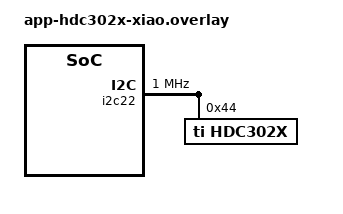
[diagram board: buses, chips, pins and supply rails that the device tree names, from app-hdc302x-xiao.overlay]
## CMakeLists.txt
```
#
# Copyright (c) 2025 Nordic Semiconductor ASA
#
# SPDX-License-Identifier: LicenseRef-Nordic-5-Clause
#

cmake_minimum_required(VERSION 3.20.0)

find_package(Zephyr HINTS $ENV{ZEPHYR_BASE})

project(temperature_sensor)

# Enable GNU STD support.
include(${ZEPHYR_CONNECTEDHOMEIP_MODULE_DIR}/config/nrfconnect/app/enable-gnu-std.cmake)

# NORDIC SDK APP START

# Include all source files that are located in the Matter common directory.
include(${ZEPHYR_NRF_MODULE_DIR}/samples/matter/common/cmake/source_common.cmake)

# Include Data Model utils
include(${ZEPHYR_NRF_MODULE_DIR}/samples/matter/common/cmake/data_model.cmake)

include(${ZEPHYR_NRF_MODULE_DIR}/samples/matter/common/cmake/zap_helpers.cmake)
ncs_get_zap_parent_dir(ZAP_PARENT_DIR)

target_include_directories(app PRIVATE
  src
  third_party
  ${ZAP_PARENT_DIR}
)

target_sources(app PRIVATE
  src/app_task.cpp
  src/hdc302x_configuration.cpp
  src/io_worker.cpp
  src/main.cpp
  src/matter_reporter.cpp
  src/measurement_worker.cpp
  src/sensor.cpp
  src/sht4x_configuration.cpp
)

target_sources_ifdef(CONFIG_APP_HDC302X_MAINTENANCE_FEATURES app PRIVATE
  src/hdc302x_decontamination_controller.cpp
  src/hdc302x_humidity_calibrator.cpp
)

target_sources_ifdef(CONFIG_APP_SSD16XX app PRIVATE
  drivers/display/ssd16xx.c
)

target_sources_ifdef(CONFIG_DISPLAY app PRIVATE
  src/display_manager.cpp
  src/thread_status.cpp
  src/fonts/lv_font_splinesans_medium_18.c
  src/fonts/lv_font_splinesans_medium_20.c
  src/fonts/lv_font_splinesans_bold_72.c
  src/fonts/lv_font_phosphor_bold_18.c
  src/fonts/lv_font_phosphor_32.c
)

if(CONFIG_DISPLAY)
  zephyr_compile_definitions(
    "LV_FONT_CUSTOM_DECLARE=LV_FONT_DECLARE(lv_font_splinesans_medium_20)"
    "LV_FONT_DEFAULT=&lv_font_splinesans_medium_20"
  )
endif()

ncs_configure_data_model()
# NORDIC SDK APP END
```

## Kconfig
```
#
# Copyright (c) 2025 Nordic Semiconductor
#
# SPDX-License-Identifier: LicenseRef-Nordic-5-Clause
#
mainmenu "Matter nRF Connect Temperature Sensor Example Application"

choice OPENTHREAD_NORDIC_LIBRARY_CONFIGURATION
	default OPENTHREAD_NORDIC_LIBRARY_MTD
endchoice

choice OPENTHREAD_DEVICE_TYPE
	default OPENTHREAD_MTD
endchoice

config CHIP_ENABLE_ICD_SUPPORT
	default y

config CHIP_ICD_LIT_SUPPORT
	default y

config APP_SSD16XX
	bool "Application-local SSD16xx e-paper display driver"
	depends on DISPLAY
	select MIPI_DBI
	help
	  Compile the application's vendored copy of the Zephyr ssd16xx
	  driver (drivers/display/ssd16xx.c), a superset of the in-tree
	  driver. Enable together with CONFIG_SSD16XX=n so that exactly
	  one driver binds the display node.

config APP_HDC302X_MAINTENANCE_FEATURES
	bool "Enable HDC302x maintenance features (humidity calibration and decontamination)"
	depends on TI_HDC302X
	default n
	help
	  When enabled, Button 4 requests a humidity calibration of the HDC302x
	  against an SHT4x reference, and Button 3 starts/stops a heater-driven
	  decontamination cycle on the HDC302x. Disabling drops the calibrator
	  and decontamination controller from the build entirely.

config APP_IO_WORKQUEUE_STACK_SIZE
	int "Stack size for the dedicated I/O workqueue thread"
	default 8192
	help
	  Stack size, in bytes, for the dedicated workqueue that runs slow
	  synchronous I/O (sensor reads, e-paper refreshes) off the CHIP task.
	  8 KiB matches the validated CHIP task stack which already carries the
	  same workload today; trim with CONFIG_THREAD_ANALYZER once the
	  high-water mark is known.

config APP_IO_WORKQUEUE_PRIORITY
	int "Thread priority for the dedicated I/O workqueue"
	default 5
	help
	  Priority of the dedicated I/O workqueue thread. K_PRIO_PREEMPT(5)
	  sits below the CHIP task (so radio responsiveness wins over display
	  rendering) and above the cooperative system workqueue (so we do not
	  share its priority).

config DISPLAY_MANAGER_LOG_LEVEL
	int "display_manager log level"
	default 4
	range 0 4
	help
	  Per-module log level for display_manager.
	  0=off, 1=err, 2=wrn, 3=inf, 4=dbg.

config IO_WORKER_LOG_LEVEL
	int "io_worker log level"
	default 3
	range 0 4
	help
	  Per-module log level for io_worker.
	  0=off, 1=err, 2=wrn, 3=inf, 4=dbg.

config MEASUREMENT_WORKER_LOG_LEVEL
	int "measurement_worker log level"
	default 4
	range 0 4
	help
	  Per-module log level for measurement_worker.
	  0=off, 1=err, 2=wrn, 3=inf, 4=dbg.

config SENSOR_LOG_LEVEL
	int "sensor log level"
	default 4
	range 0 4
	help
	  Per-module log level for sensor.
	  0=off, 1=err, 2=wrn, 3=inf, 4=dbg.

config CHIP_ICD_FAST_POLLING_INTERVAL
	default 2000

config CHIP_ICD_REPORT_ON_ACTIVE_MODE
	default y

# Reduce Thread TX output power to 0 dBm for SED device
config OPENTHREAD_DEFAULT_TX_POWER
	default 0

source "$(ZEPHYR_CONNECTEDHOMEIP_MODULE_DIR)/config/nrfconnect/chip-module/Kconfig.features"
source "$(ZEPHYR_CONNECTEDHOMEIP_MODULE_DIR)/config/nrfconnect/chip-module/Kconfig.defaults"
source "$(ZEPHYR_NRF_MODULE_DIR)/samples/matter/common/src/Kconfig"
source "Kconfig.zephyr"
```

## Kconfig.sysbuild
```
#
# Copyright (c) 2025 Nordic Semiconductor ASA
#
# SPDX-License-Identifier: LicenseRef-Nordic-5-Clause
#

#### Radio core selection
config NRF_DEFAULT_IPC_RADIO
	default y

# Enable IEEE802.15.4 serialization to network core
# This config automatically pulls in the `overlay-802154.conf` in the ipc_radio image
config NETCORE_IPC_RADIO_IEEE802154
	default y if SOC_SERIES_NRF53

# Enable Bluetooth serialization to network core
# This config automatically pulls in the `overlay-bt_hci_ipc.conf` in the ipc_radio image
config NETCORE_IPC_RADIO_BT_HCI_IPC
	default y if SOC_SERIES_NRF53

#### Bootloader
choice BOOTLOADER
	default BOOTLOADER_MCUBOOT
endchoice

if BOOTLOADER_MCUBOOT

#### DFU multi-image support
config DFU_MULTI_IMAGE_PACKAGE_BUILD
	default y

config DFU_MULTI_IMAGE_PACKAGE_APP
	default y

config PM_EXTERNAL_FLASH_MCUBOOT_SECONDARY
	default y

#### DFU network core configuration
if SOC_SERIES_NRF53

config MCUBOOT_UPDATEABLE_IMAGES
	default 2

choice MCUBOOT_MODE
	default MCUBOOT_MODE_OVERWRITE_ONLY
endchoice

choice BOOT_SIGNATURE_TYPE
	default BOOT_SIGNATURE_TYPE_RSA
endchoice

config SECURE_BOOT_NETCORE
	default y

config NETCORE_APP_UPDATE
	default y

config DFU_MULTI_IMAGE_PACKAGE_NET
	default y

config SECURE_BOOT_SIGNING_KEY_FILE
	default "${APP_DIR}/keys/nsib_ecdsa_priv.pem"

endif # SOC_SERIES_NRF53

#### Production image signing for the nRF54L series (XIAO + DK + tag)
if SOC_SERIES_NRF54L

# MCUboot image signing. By default the public verification key is compiled into
# the MCUboot image (MCUBOOT_SIGNATURE_USING_KMU defaults to n in the SDK); this
# works with the XIAO's onboard CMSIS-DAP probe via a plain `west flash`, with no
# provisioning step.
#
# To instead store the key in the hardware KMU (more hardened, supports key
# revocation), build with -DSB_CONFIG_MCUBOOT_SIGNATURE_USING_KMU=y (or set it in
# sysbuild_internal.conf) and flash with a SEGGER J-Link via
# `west flash --runner jlink --erase`. The XIAO's CMSIS-DAP probe cannot provision
# the KMU. The private key and the signing operation are identical either way --
# only the public-key storage location differs -- so switching needs no new key.

choice BOOT_SIGNATURE_TYPE
	default BOOT_SIGNATURE_TYPE_ED25519
endchoice

# Emit keyfile.json (consumed by `west flash --erase` to provision the KMU) only
# when KMU storage is selected, so MCUBOOT_SIGNATURE_USING_KMU is the single flag
# that controls the whole mode.
config MCUBOOT_GENERATE_DEFAULT_KEY_FILE
	default y if MCUBOOT_SIGNATURE_USING_KMU

endif # SOC_SERIES_NRF54L

# Production signing key, shared by both storage modes. ${APP_DIR} is expanded by
# the image-signing CMake script to the application directory (a bare relative
# path would instead be resolved against the west workspace topdir). This file is
# gitignored and must be generated locally (see README); a fresh clone will not
# build until it is supplied.
config BOOT_SIGNATURE_KEY_FILE
	default "${APP_DIR}/keys/mcuboot_ed25519_priv.pem" if BOOT_SIGNATURE_TYPE_ED25519
	default "${APP_DIR}/keys/mcuboot_rsa2048_priv.pem" if BOOT_SIGNATURE_TYPE_RSA

if BOARD_NRF54L15DK || BOARD_NRF54LM20DK

# Disable checking the external drivers for nRF54L15 and nRF54LM20 DKs.
config PM_OVERRIDE_EXTERNAL_DRIVER_CHECK
	default y

endif # BOARD_NRF54L15DK || BOARD_NRF54LM20DK

# Internal flash only for nRF54L15 tag with compression
if BOARD_NRF54L15TAG

config PM_OVERRIDE_EXTERNAL_DRIVER_CHECK
	default y

choice MCUBOOT_MODE
	default MCUBOOT_MODE_OVERWRITE_ONLY
endchoice

config MCUBOOT_COMPRESSED_IMAGE_SUPPORT
	default y

endif

endif # BOOTLOADER_MCUBOOT

#### Enable generating factory data
config MATTER_FACTORY_DATA_GENERATE
	default y

source "share/sysbuild/Kconfig"
```

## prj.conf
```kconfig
#
# Copyright (c) 2025 Nordic Semiconductor ASA
#
# SPDX-License-Identifier: LicenseRef-Nordic-5-Clause
#

CONFIG_NCS_APPLICATION_BOOT_BANNER_STRING="Matter Temperature/Humidity Sensor"

# Enable CHIP
CONFIG_CHIP=y
CONFIG_CHIP_PROJECT_CONFIG="src/chip_project_config.h"
CONFIG_CHIP_DEVICE_PRODUCT_NAME="Temperature/Humidity Sensor"

# Configure ZAP file name
CONFIG_NCS_SAMPLE_MATTER_ZAP_FILE_PATH="${APPLICATION_CONFIG_DIR}/src/default_zap/temperature_sensor.zap"

# Based on https://github.com/project-chip/connectedhomeip/blob/482e6fd03196a6de45465a90003947ef4b86e0b1/docs/examples/discussion/PID_allocation_for_example_apps.md)
CONFIG_CHIP_DEVICE_PRODUCT_ID=32781
CONFIG_STD_CPP17=y

# Enable Matter pairing automatically on application start.
CONFIG_CHIP_ENABLE_PAIRING_AUTOSTART=y

# Enable Matter extended announcement and increase duration to 1 hour.
CONFIG_CHIP_BLE_EXT_ADVERTISING=y
CONFIG_CHIP_BLE_ADVERTISING_DURATION=60

# Add support for LEDs and buttons on Nordic development kits
CONFIG_DK_LIBRARY=y

# Bluetooth Low Energy configuration
CONFIG_BT_DEVICE_NAME="MatterTemperature"
CONFIG_BT_DEVICE_NAME_MAX=18

# I2C and sensor support - mix in the sensor-specific .overlay file via `west build` to enable sensor(s)
CONFIG_I2C=y
CONFIG_SENSOR=y
CONFIG_SHT4X=y
CONFIG_TI_HDC302X=y
CONFIG_DEVICE_SHELL=n
CONFIG_SENSOR_SHELL=n

# Suspend devices when the CPU goes into sleep
CONFIG_PM_DEVICE=y

# Other settings
CONFIG_THREAD_NAME=y
CONFIG_MPU_STACK_GUARD=y
CONFIG_RESET_ON_FATAL_ERROR=n
CONFIG_CHIP_LIB_SHELL=n
CONFIG_OPENTHREAD_SHELL=n

# Segger RTT for logging (set to y to enable, n to disable)
CONFIG_USE_SEGGER_RTT=n
CONFIG_LOG_BACKEND_RTT=n

# Enable Factory Data feature
CONFIG_CHIP_FACTORY_DATA=y
CONFIG_CHIP_FACTORY_DATA_BUILD=y
CONFIG_CHIP_FACTORY_DATA_GENERATE_ONBOARDING_CODES=y

# Configure UART logging
CONFIG_LOG=y
CONFIG_LOG_MODE_DEFERRED=y
CONFIG_LOG_PROCESS_THREAD_STACK_SIZE=1024
CONFIG_LOG_BUFFER_SIZE=8192
CONFIG_LOG_FUNC_NAME_PREFIX_DBG=n
CONFIG_LOG_TIMESTAMP_64BIT=y
CONFIG_LOG_OUTPUT_FORMAT_LINUX_TIMESTAMP=y
```

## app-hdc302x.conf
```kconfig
CONFIG_TI_HDC302X=y
```

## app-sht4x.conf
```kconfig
CONFIG_SHT4X=y
```

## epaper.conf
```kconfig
#
# Additional configuration options for e-paper display support
#

CONFIG_DISPLAY=y
CONFIG_SPI=y

# Use the application's vendored ssd16xx driver instead of the in-tree one
# (which defaults on whenever an SSD16xx-family devicetree node is enabled).
CONFIG_SSD16XX=n
CONFIG_APP_SSD16XX=y

# LVGL — 1-bit mono, full-screen VDB, no background workqueue
CONFIG_LVGL=y
CONFIG_LV_COLOR_DEPTH_1=y
CONFIG_LV_Z_FULL_REFRESH=y
CONFIG_LV_Z_VDB_SIZE=100
CONFIG_LV_Z_RUN_LVGL_ON_WORKQUEUE=n
CONFIG_LV_Z_MEM_POOL_SIZE=16384

# Use the mono theme (white background, black text) instead of the default dark theme
CONFIG_LV_USE_THEME_DEFAULT=n
CONFIG_LV_USE_THEME_MONO=y

CONFIG_LV_USE_FLEX=y

# Drop the built-in Montserrat 14 default font; LV_FONT_DEFAULT is overridden
# in CMakeLists.txt to point at lv_font_inter_light_12 (already linked).
CONFIG_LV_FONT_MONTSERRAT_14=n
```

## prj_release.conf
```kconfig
#
# Copyright (c) 2025 Nordic Semiconductor ASA
#
# SPDX-License-Identifier: LicenseRef-Nordic-5-Clause
#

# Enable CHIP
CONFIG_CHIP=y
CONFIG_CHIP_PROJECT_CONFIG="src/chip_project_config.h"
CONFIG_CHIP_DEVICE_PRODUCT_NAME="Temperature/Humidity Sensor"

# Configure ZAP file name
CONFIG_NCS_SAMPLE_MATTER_ZAP_FILE_PATH="${APPLICATION_CONFIG_DIR}/src/default_zap/temperature_sensor.zap"

# Based on https://github.com/project-chip/connectedhomeip/blob/482e6fd03196a6de45465a90003947ef4b86e0b1/docs/examples/discussion/PID_allocation_for_example_apps.md)
CONFIG_CHIP_DEVICE_PRODUCT_ID=32781
CONFIG_STD_CPP17=y

# Enable Matter pairing automatically on application start.
CONFIG_CHIP_ENABLE_PAIRING_AUTOSTART=y

# Enable Matter extended announcement and increase duration to 1 hour.
CONFIG_CHIP_BLE_EXT_ADVERTISING=y
CONFIG_CHIP_BLE_ADVERTISING_DURATION=60

# Add support for LEDs and buttons on Nordic development kits
CONFIG_DK_LIBRARY=y

# Try to disable unused RAM blocks to reduce power consumption
CONFIG_RAM_POWER_DOWN_LIBRARY=y

# Bluetooth Low Energy configuration
CONFIG_BT_DEVICE_NAME="MatterTemperature"
CONFIG_BT_DEVICE_NAME_MAX=18

# I2C and sensor support - mix in the sensor-specific .overlay file via `west build` to enable sensor(s)
CONFIG_I2C=y
CONFIG_SENSOR=y
CONFIG_SHT4X=y
CONFIG_TI_HDC302X=y
CONFIG_DEVICE_SHELL=n
CONFIG_SENSOR_SHELL=n

# Suspend devices when the CPU goes into sleep
CONFIG_PM_DEVICE=y

# Enable system reset on fatal error
CONFIG_RESET_ON_FATAL_ERROR=y

# Disable all debug features
CONFIG_USE_SEGGER_RTT=n
CONFIG_SHELL=n
CONFIG_OPENTHREAD_SHELL=n
CONFIG_CONSOLE=n
CONFIG_UART_CONSOLE=n
CONFIG_SERIAL=n
CONFIG_LOG=n
CONFIG_LOG_MODE_MINIMAL=n
CONFIG_ASSERT_VERBOSE=n
CONFIG_ASSERT_NO_FILE_INFO=y
CONFIG_PRINTK=n
CONFIG_PRINTK_SYNC=n
CONFIG_THREAD_NAME=n
CONFIG_BOOT_BANNER=n

# Enable Factory Data feature
CONFIG_CHIP_FACTORY_DATA=y
CONFIG_CHIP_FACTORY_DATA_BUILD=y

# Enable Watchdog
CONFIG_NCS_SAMPLE_MATTER_WATCHDOG=y

# Enable LTO to decrease the flash usage.
CONFIG_LTO=y
CONFIG_ISR_TABLES_LOCAL_DECLARATION=y
```

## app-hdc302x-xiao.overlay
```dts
&i2c22 {
    status = "okay";

    clock-frequency = <I2C_BITRATE_FAST_PLUS>;

    hdc302x@44 {
        compatible = "ti,hdc302x";
        reg = <0x44>;
    };
};
```

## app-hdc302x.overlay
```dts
&i2c1 {
    clock-frequency = <I2C_BITRATE_FAST>;

    hdc302x@44 {
        compatible = "ti,hdc302x";
        reg = <0x44>;
    };
};
```

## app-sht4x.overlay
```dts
&i2c1 {
    sht4x@44 {
        compatible = "sensirion,sht4x";
        reg = <0x44>;
        repeatability = <2>; /* 2 = high */
    };
};
```

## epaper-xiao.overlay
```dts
/ {
	chosen {
		zephyr,display = &ssd1681;
	};

	mipi_dbi: mipi-dbi-spi {
		compatible = "zephyr,mipi-dbi-spi";
		spi-dev = <&spi00>;
		dc-gpios    = <&xiao_d 3 GPIO_ACTIVE_HIGH>; /* D3 */
		reset-gpios = <&xiao_d 0 GPIO_ACTIVE_LOW>;  /* D0 */
		#address-cells = <1>;
		#size-cells = <0>;

		ssd1681: ssd1681@0 {
			compatible = "solomon,ssd1681";
			mipi-max-frequency = <4000000>;
			reg = <0>;
			width = <200>;
			height = <200>;
			rotation = <180>;
			busy-gpios = <&xiao_d 2 GPIO_ACTIVE_HIGH>; /* D2 */

			partial {};
		};
	};
};

&spi00 {
	cs-gpios = <&xiao_d 1 GPIO_ACTIVE_LOW>; /* D1 */
};
```

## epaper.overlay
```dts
/ {
	chosen {
		zephyr,display = &ssd1681;
	};

	mipi_dbi: mipi-dbi-spi {
		compatible = "zephyr,mipi-dbi-spi";
		spi-dev = <&arduino_spi>;
		dc-gpios    = <&arduino_header 15 GPIO_ACTIVE_HIGH>; /* D9  (P1.11) */
		reset-gpios = <&arduino_header 14 GPIO_ACTIVE_LOW>;  /* D8  (P1.10) */
		#address-cells = <1>;
		#size-cells = <0>;

		ssd1681: ssd1681@0 {
			compatible = "solomon,ssd1681";
			mipi-max-frequency = <4000000>;
			reg = <0>;
			width = <200>;
			height = <200>;
			busy-gpios = <&arduino_header 13 GPIO_ACTIVE_HIGH>; /* D7 (P1.09) */

			partial {};
		};
	};
};
```

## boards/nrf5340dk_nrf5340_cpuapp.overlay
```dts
/*
 * Copyright (c) 2025 Nordic Semiconductor ASA
 *
 * SPDX-License-Identifier: LicenseRef-Nordic-5-Clause
 */

#include <samples/matter/nrf5340_cpuapp_partitions.dtsi>
#include <zephyr/dt-bindings/ipc_service/static_vrings.h>

/ {
	chosen {
		nordic,pm-ext-flash = &mx25r64;
	};
};

/* Set IPC thread priority to the highest value to not collide with other threads. */
&ipc0 {
	zephyr,priority = <0 PRIO_COOP>;
};

/* Disable unused peripherals to reduce power consumption */
&adc {
	status = "disabled";
};

&i2c1 {
	status = "okay";
	clock-frequency = <I2C_BITRATE_FAST>;
};

&pwm0 {
	status = "disabled";
};

&spi2 {
	status = "disabled";
};

&usbd {
	status = "disabled";
};
```

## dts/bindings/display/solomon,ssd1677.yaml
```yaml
# Copyright (c) 2026 Andrew Herbert
# SPDX-License-Identifier: Apache-2.0

description: |
  Solomon SSD1677 EPD display controller (960 source x 680 gate), including
  compatible clones such as the SE8350. Handled by the application-local
  ssd16xx driver superset (CONFIG_APP_SSD16XX).

compatible: "solomon,ssd1677"

include: solomon,ssd16xx-common.yaml

properties:
  driver-output-scan:
    type: int
    default: 0
    description: |
      Third parameter byte of the Driver Output Control command (0x01),
      holding the GD/SM/TB gate-scan bits. Panel-specific; the default 0
      matches the controller's POR value. The KEGM042601M01 4.26" panel
      requires 0x02 (SM=1, no odd/even gate interlacing).
```

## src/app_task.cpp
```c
/*
 * Copyright (c) 2025 Nordic Semiconductor ASA
 *
 * SPDX-License-Identifier: LicenseRef-Nordic-5-Clause
 */

#include "app_task.h"

#include "app/matter_init.h"
#include "app/task_executor.h"
#include "board/board.h"
#include "clusters/identify.h"
#include "io_worker.h"
#include "measurement_worker.h"
#include "lib/core/CHIPError.h"
#include "system/SystemError.h"

#include <zephyr/logging/log.h>

#include <optional>

#ifdef CONFIG_DISPLAY
#include "display_manager.h"
#endif

LOG_MODULE_DECLARE(app, CONFIG_CHIP_APP_LOG_LEVEL);

using namespace ::chip;
using namespace ::chip::app;
using namespace ::chip::DeviceLayer;

namespace
{
Nrf::Matter::IdentifyCluster sIdentifyTemperatureCluster(MatterReporter::kTemperatureEndpointId);
Nrf::Matter::IdentifyCluster sIdentifyHumidityCluster(MatterReporter::kHumidityEndpointId);

#ifdef CONFIG_CHIP_ICD_UAT_SUPPORT
#define UAT_BUTTON_MASK DK_BTN3_MSK
#endif
} /* namespace */

void AppTask::ButtonEventHandler(Nrf::ButtonState state, Nrf::ButtonMask hasChanged)
{
#ifdef CONFIG_CHIP_ICD_UAT_SUPPORT
	if ((UAT_BUTTON_MASK & state & hasChanged)) {
		LOG_INF("ICD UserActiveMode has been triggered.");
		Server::GetInstance().GetICDManager().OnNetworkActivity();
	}
#endif

	if ((DK_BTN2_MSK & state & hasChanged)) {
		MeasurementWorker::Instance().RequestTogglePrimarySensor();
	}

#ifdef CONFIG_APP_HDC302X_MAINTENANCE_FEATURES
	if ((DK_BTN3_MSK & state & hasChanged)) {
		MeasurementWorker::Instance().RequestToggleDecontamination();
	}

	if ((DK_BTN4_MSK & state & hasChanged)) {
		MeasurementWorker::Instance().RequestHumidityCalibration();
	}
#endif
}

void AppTask::LEDStateHandler()
{
	/* Update the status LED.
	 *
	 * If IPv6 network and service provisioned, the LED is off.
	 *
	 * If the system has BLE connection(s) uptill the stage above, THEN blink the LED at an even
	 * rate of 100ms.
	 *
	 * Otherwise, blink the LED for a very short time. */
	Nrf::LEDWidget &statusLED = Nrf::GetBoard().GetLED(Nrf::DeviceLeds::LED1);

	switch (Nrf::GetBoard().GetDeviceState()) {
	case Nrf::DeviceState::DeviceDisconnected:
	case Nrf::DeviceState::DeviceAdvertisingBLE:
		statusLED.Blink(Nrf::LedConsts::StatusLed::Disconnected::kOn_ms,
				      Nrf::LedConsts::StatusLed::Disconnected::kOff_ms);

		break;
	case Nrf::DeviceState::DeviceConnectedBLE:
		statusLED.Blink(Nrf::LedConsts::StatusLed::BleConnected::kOn_ms,
				      Nrf::LedConsts::StatusLed::BleConnected::kOff_ms);
		break;
	case Nrf::DeviceState::DeviceProvisioned:
		statusLED.Set(false);
		break;
	default:
		LOG_ERR("LEDStateHandler: invalid device state");
		break;
	}
}

CHIP_ERROR AppTask::Init()
{
	/* Initialize Matter stack */
	ReturnErrorOnFailure(Nrf::Matter::PrepareServer());

	if (!Nrf::GetBoard().Init(ButtonEventHandler, LEDStateHandler)) {
		LOG_ERR("User interface initialization failed.");
		return CHIP_ERROR_INCORRECT_STATE;
	}

	/* Register Matter event handler that controls the connectivity status LED based on the captured Matter network
	 * state. */
	ReturnErrorOnFailure(Nrf::Matter::RegisterEventHandler(Nrf::Board::DefaultMatterEventHandler, 0));

	ReturnErrorOnFailure(sIdentifyTemperatureCluster.Init());
	ReturnErrorOnFailure(sIdentifyHumidityCluster.Init());

	if (int err = IoWorker::Instance().Init(); err) {
		return chip::System::MapErrorZephyr(err);
	}

#ifdef CONFIG_DISPLAY
	/* DisplayManager::Init() submits the SSD16XX/LVGL bring-up to the
	 * IoWorker, so the worker must already exist. FIFO ordering of the
	 * IoWorker queue places this work ahead of the first measurement tick
	 * armed in MeasurementWorker::Start(). */
	DisplayManager::Instance().Init();
#endif

	ReturnErrorOnFailure(Nrf::Matter::StartServer());

	ReturnErrorOnFailure(mMatterReporter.LoadValidityRanges());

	if (int err = MeasurementWorker::Instance().Init(
		[](std::optional<int16_t> t, std::optional<uint16_t> h) {
			Nrf::PostTask([t, h] { Instance().mMatterReporter.Publish(t, h); });
		}); err) {
		return chip::System::MapErrorZephyr(err);
	}

	return CHIP_NO_ERROR;
}

CHIP_ERROR AppTask::StartApp()
{
	ReturnErrorOnFailure(Init());

	MeasurementWorker::Instance().Start();

	while (true) {
		Nrf::DispatchNextTask();
	}

	return CHIP_NO_ERROR;
}
```

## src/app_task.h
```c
/*
 * Copyright (c) 2025 Nordic Semiconductor ASA
 *
 * SPDX-License-Identifier: LicenseRef-Nordic-5-Clause
 */

#pragma once

#include "board/board.h"
#include "matter_reporter.h"

#include <platform/CHIPDeviceLayer.h>


struct Identify;

class AppTask {
public:
	static AppTask &Instance()
	{
		static AppTask sAppTask;
		return sAppTask;
	};

	CHIP_ERROR StartApp();

private:
	CHIP_ERROR Init();

	MatterReporter mMatterReporter;

	static void ButtonEventHandler(Nrf::ButtonState state, Nrf::ButtonMask hasChanged);

	static void LEDStateHandler();
};
```

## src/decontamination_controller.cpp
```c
/*
 * SPDX-License-Identifier: LicenseRef-Apache-2.0
 */

#include "decontamination_controller.h"

#include "app/task_executor.h"
#include "board/board.h"

#include <zephyr/drivers/sensor.h>
#include <zephyr/drivers/sensor/ti_hdc302x.h>
#include <zephyr/logging/log.h>

#ifdef CONFIG_DISPLAY
#include "display_manager.h"
#endif

LOG_MODULE_DECLARE(app, CONFIG_CHIP_APP_LOG_LEVEL);

namespace
{
constexpr int16_t  kTemperatureInvalidSentinel = 0x8000;
constexpr uint16_t kHumidityInvalidSentinel    = 0xffff;
} /* namespace */

void DecontaminationController::Init(const device *hdc302xDevice,
                                     Callback onStarted,
                                     Callback onStopped,
                                     void *callbackContext)
{
	mDevice          = hdc302xDevice;
	mOnStarted       = onStarted;
	mOnStopped       = onStopped;
	mCallbackContext = callbackContext;

	k_timer_init(
		&mTimer,
		[](k_timer *timer) {
			auto *self =
				static_cast<DecontaminationController *>(k_timer_user_data_get(timer));
			Nrf::PostTask([self] { self->RunCycle(); });
		},
		nullptr);
	k_timer_user_data_set(&mTimer, this);
}

void DecontaminationController::Toggle()
{
	if (mActive) {
		Stop();
	} else {
		Start();
	}
}

void DecontaminationController::SetHeater(int32_t level)
{
	if (mDevice == nullptr) {
		return;
	}
	const struct sensor_value heaterLevel = {.val1 = level, .val2 = 0};
	const int result = sensor_attr_set(mDevice, SENSOR_CHAN_ALL,
	                                   (enum sensor_attribute)SENSOR_ATTR_HEATER_LEVEL,
	                                   &heaterLevel);
	if (result != 0) {
		LOG_ERR("Failed to %s HDC302x heater: %d",
		        (level == kHeaterOff) ? "disable" : "enable", result);
	}
}

void DecontaminationController::Start()
{
	if (mActive) {
		return;
	}
	if (mDevice == nullptr) {
		LOG_WRN("Decontamination requires HDC302x device");
		return;
	}

	if (mOnStarted != nullptr) {
		mOnStarted(mCallbackContext);
	}

	SetHeater(kHeaterLevel);

	mStartUptimeMs = k_uptime_get();
	mActive        = true;

	k_timer_start(&mTimer, K_MSEC(kIntervalMs), K_MSEC(kIntervalMs));

	Nrf::GetBoard().GetLED(Nrf::DeviceLeds::LED4).Blink(kLedOnMs, kIntervalMs - kLedOnMs);

#ifdef CONFIG_DISPLAY
	DisplayManager::Instance().SetDecontaminationStatus(true, 0);
	DisplayManager::Instance().RefreshDisplay();
#endif

	LOG_INF("Decontamination started (heater level %d)", kHeaterLevel);
}

void DecontaminationController::Stop()
{
	if (!mActive) {
		return;
	}

	k_timer_stop(&mTimer);

	SetHeater(kHeaterOff);

	mActive = false;

	Nrf::GetBoard().GetLED(Nrf::DeviceLeds::LED4).Set(false);

#ifdef CONFIG_DISPLAY
	DisplayManager::Instance().SetDecontaminationStatus(false, 0);
	DisplayManager::Instance().RefreshDisplay();
#endif

	if (mOnStopped != nullptr) {
		mOnStopped(mCallbackContext);
	}

	LOG_INF("Decontamination stopped");
}

void DecontaminationController::RunCycle()
{
	if (!mActive) {
		return;
	}

	const int fetchResult = sensor_sample_fetch(mDevice);
	if (fetchResult != 0) {
		LOG_ERR("Decon: failed to fetch sensor: %d", fetchResult);
		return;
	}

	struct sensor_value temperature;
	int16_t temperatureHundredths = kTemperatureInvalidSentinel;
	if (sensor_channel_get(mDevice, SENSOR_CHAN_AMBIENT_TEMP, &temperature) == 0) {
		temperatureHundredths =
			static_cast<int16_t>(temperature.val1 * 100 + temperature.val2 / 10000);
	}

	struct sensor_value humidity;
	uint16_t humidityHundredths = kHumidityInvalidSentinel;
	if (sensor_channel_get(mDevice, SENSOR_CHAN_HUMIDITY, &humidity) == 0) {
		humidityHundredths =
			static_cast<uint16_t>(humidity.val1 * 100 + humidity.val2 / 10000);
	}

	const int64_t elapsedMs = k_uptime_get() - mStartUptimeMs;

	LOG_DBG("Decon t=%lld.%03llds  T=%d.%02dC  RH=%u.%02u%%",
	        elapsedMs / 1000, elapsedMs % 1000,
	        temperatureHundredths / 100, temperatureHundredths % 100,
	        humidityHundredths / 100, humidityHundredths % 100);

#ifdef CONFIG_DISPLAY
	DisplayManager::Instance().UpdateMeasurements(temperatureHundredths, humidityHundredths);
	DisplayManager::Instance().SetDecontaminationStatus(
		true, static_cast<uint32_t>(elapsedMs / 1000));
	DisplayManager::Instance().RefreshDisplay();
#endif

	const bool humidityValid = (humidityHundredths != kHumidityInvalidSentinel);
	if (elapsedMs >= kMaxDurationMs ||
	    (humidityValid && humidityHundredths < kHumidityExitHundredths)) {
		Stop();
	}
}
```

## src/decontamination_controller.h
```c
/*
 * SPDX-License-Identifier: LicenseRef-Apache-2.0
 */

#pragma once

#include <zephyr/kernel.h>
#include <cstdint>

struct device;

/// HDC302x decontamination cycle: drives the on-chip heater for up to five
/// minutes (or until humidity drops below 1%) to drive out absorbed moisture.
/// While active, the host's normal measurement cadence is paused via the
/// supplied callbacks so the heater readings do not pollute the Matter cluster.
class DecontaminationController {
public:
	using Callback = void (*)(void *context);

	DecontaminationController() = default;
	DecontaminationController(const DecontaminationController &) = delete;
	DecontaminationController &operator=(const DecontaminationController &) = delete;

	void Init(const device *hdc302xDevice,
	          Callback onStarted,
	          Callback onStopped,
	          void *callbackContext);

	void Start();
	void Stop();
	void Toggle();

	bool Active() const { return mActive; }

private:
	static constexpr uint32_t kIntervalMs             = 2'000;
	static constexpr uint32_t kLedOnMs                = 50;
	static constexpr uint32_t kMaxDurationMs          = 5 * 60 * 1000;
	static constexpr uint16_t kHumidityExitHundredths = 100; // 1.00%
	static constexpr int32_t  kHeaterLevel            = 14;  // 100% of maximum
	static constexpr int32_t  kHeaterOff              = 0;

	void RunCycle();
	void SetHeater(int32_t level);

	const device *mDevice          = nullptr;
	Callback      mOnStarted       = nullptr;
	Callback      mOnStopped       = nullptr;
	void         *mCallbackContext = nullptr;

	bool    mActive        = false;
	int64_t mStartUptimeMs = 0;
	k_timer mTimer{};
};
```

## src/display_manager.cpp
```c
/*
 * SPDX-License-Identifier: Apache-2.0
 */

#ifdef CONFIG_DISPLAY

#include "display_manager.h"

#include "io_worker.h"

#include <zephyr/drivers/display.h>
#include <zephyr/logging/log.h>

LOG_MODULE_REGISTER(display_manager, CONFIG_DISPLAY_MANAGER_LOG_LEVEL);

LV_FONT_DECLARE(lv_font_splinesans_medium_18);
LV_FONT_DECLARE(lv_font_splinesans_medium_20);
LV_FONT_DECLARE(lv_font_splinesans_bold_72);
LV_FONT_DECLARE(lv_font_phosphor_bold_18);
LV_FONT_DECLARE(lv_font_phosphor_32);

// Replace with codepoints from the Phosphor lookup script.
static constexpr uint32_t kPhosphorThermometer = 0xE5C6;
static constexpr uint32_t kPhosphorDrop        = 0xE210;
static constexpr uint32_t kPhosphorArrowsUpDown = 0xEB04;

static constexpr int32_t kScreenWidth            = 200;
static constexpr int32_t kScreenHeight           = 200;
static constexpr int32_t kHeaderHeight           = 24;
static constexpr int32_t kHeaderInnerPadRight    = 2;
static constexpr int32_t kHeaderInnerPadTop      = 2;
static constexpr int32_t kHeaderTextLeftOffset   = 0;
static constexpr int32_t kSignalWidgetWidth      = 26;
static constexpr int32_t kSignalWidgetHeight     = 14;
static constexpr int32_t kStatusBarColumnGap     = 4;
static constexpr int32_t kSensorContainerHeight  = kScreenHeight - kHeaderHeight;
static constexpr int32_t kSensorContainerLeftPad = 32;
static constexpr int32_t kDividerWidth           = 160;
static constexpr int32_t kDividerHeight          = 1;

void DisplayManager::SignalDrawCallback(lv_event_t *event)
{
	auto      *self  = static_cast<DisplayManager *>(lv_event_get_user_data(event));
	lv_layer_t *layer = lv_event_get_layer(event);
	lv_obj_t   *obj   = lv_event_get_target_obj(event);

	lv_area_t coords;
	lv_obj_get_coords(obj, &coords);

	static constexpr int32_t kBarHeights[4] = {4, 7, 10, 13};
	static constexpr int32_t kBarWidth      = 5;
	static constexpr int32_t kBarGap        = 2;

	if (!self->mCurrentConnected) {
		lv_draw_rect_dsc_t dsc;
		lv_draw_rect_dsc_init(&dsc);
		dsc.bg_color = lv_color_white();
		dsc.bg_opa   = LV_OPA_COVER;
		dsc.radius   = 0;
		int32_t totalWidth = 4 * kBarWidth + 3 * kBarGap;
		int32_t x0 = coords.x1 + (totalWidth - 10) / 2;
		int32_t y0 = (coords.y1 + coords.y2) / 2;
		lv_area_t dash = {x0, y0, x0 + 9, y0};
		lv_draw_rect(layer, &dsc, &dash);
		return;
	}

	for (int i = 0; i < 4; i++) {
		lv_draw_rect_dsc_t dsc;
		lv_draw_rect_dsc_init(&dsc);
		dsc.radius = 0;

		int32_t x = coords.x1 + i * (kBarWidth + kBarGap);
		int32_t h = kBarHeights[i];
		lv_area_t bar = {x, coords.y2 - h, x + kBarWidth - 1, coords.y2};

		if (i <= self->mCurrentLqi) {
			dsc.bg_color     = lv_color_white();
			dsc.bg_opa       = LV_OPA_COVER;
			dsc.border_width = 0;
		} else {
			dsc.bg_opa       = LV_OPA_TRANSP;
			dsc.border_width = 1;
			dsc.border_color = lv_color_white();
			dsc.border_opa   = LV_OPA_COVER;
		}
		lv_draw_rect(layer, &dsc, &bar);
	}
}

lv_obj_t *DisplayManager::CreateSensorCard(lv_obj_t *parent,
                                            const char *title,
                                            const char *unit)
{
	lv_obj_t *card = lv_obj_create(parent);
	lv_obj_remove_style_all(card);
	lv_obj_set_width(card, LV_PCT(100));
	lv_obj_set_height(card, LV_SIZE_CONTENT);
	lv_obj_set_layout(card, LV_LAYOUT_FLEX);
	lv_obj_set_flex_flow(card, LV_FLEX_FLOW_COLUMN);
	lv_obj_set_flex_align(card, LV_FLEX_ALIGN_CENTER, LV_FLEX_ALIGN_CENTER, LV_FLEX_ALIGN_CENTER);
	lv_obj_set_style_pad_all(card, 0, 0);
	lv_obj_set_style_pad_row(card, 11, 0);

	lv_obj_t *valueRow = lv_obj_create(card);
	lv_obj_remove_style_all(valueRow);
	lv_obj_set_size(valueRow, LV_SIZE_CONTENT, LV_SIZE_CONTENT);
	lv_obj_set_layout(valueRow, LV_LAYOUT_FLEX);
	lv_obj_set_flex_flow(valueRow, LV_FLEX_FLOW_ROW);
	lv_obj_set_flex_align(valueRow, LV_FLEX_ALIGN_START, LV_FLEX_ALIGN_END, LV_FLEX_ALIGN_CENTER);
	lv_obj_set_style_pad_all(valueRow, 0, 0);
	lv_obj_set_style_pad_column(valueRow, 4, 0);

	lv_obj_t *valueLabel = lv_label_create(valueRow);
	lv_obj_set_style_text_font(valueLabel, &lv_font_splinesans_bold_72, 0);
	lv_label_set_text(valueLabel, "--.-");

	lv_obj_t *unitLabel = lv_label_create(valueRow);
	lv_obj_set_style_text_font(unitLabel, &lv_font_splinesans_medium_20, 0);
	lv_label_set_text(unitLabel, unit);

	// Bottom-align aligns bounding-box bottoms, not baselines. Lift the unit
	// label by the difference in descender space so baselines coincide.
	int32_t baselineOffset = lv_font_splinesans_bold_72.base_line -
	                         lv_font_splinesans_medium_20.base_line;
	lv_obj_set_style_pad_bottom(unitLabel, baselineOffset, 0);

	return valueLabel;
}

void DisplayManager::CreateIcon(lv_obj_t *screen, uint32_t codepoint, lv_obj_t *valueLabel)
{
	lv_obj_t *icon = lv_label_create(screen);
	lv_obj_add_flag(icon, LV_OBJ_FLAG_FLOATING);
	lv_obj_set_style_text_font(icon, &lv_font_phosphor_32, 0);
	char buf[4] = {
	    static_cast<char>(0xE0 | (codepoint >> 12)),
	    static_cast<char>(0x80 | ((codepoint >> 6) & 0x3F)),
	    static_cast<char>(0x80 | (codepoint & 0x3F)),
	    '\0'
	};
	lv_label_set_text(icon, buf);

	lv_area_t area;
	lv_obj_get_coords(valueLabel, &area);
	int32_t centreY = area.y1 + (area.y2 - area.y1) / 2;
	lv_obj_set_pos(icon, 0, centreY - lv_font_get_line_height(&lv_font_phosphor_32) / 2);
}

void DisplayManager::Init()
{
	k_work_init(&mInitWork, InitHandler);
	k_work_submit_to_queue(&IoWorker::Instance().Queue(), &mInitWork);
}

void DisplayManager::InitHandler(k_work * /* work */)
{
	Instance().InitOnWorker();
}

void DisplayManager::InitOnWorker()
{
	if (!InitDisplayDevice()) {
		mState = State::Unavailable;
		return;
	}
	BuildUserInterface();
	mState = State::Ready;
}

bool DisplayManager::InitDisplayDevice()
{
	mDev = DEVICE_DT_GET(DT_CHOSEN(zephyr_display));
	if (!device_is_ready(mDev)) {
		LOG_ERR("Display device not ready; continuing without display");
		return false;
	}
	LOG_INF("Display device is ready");
	return true;
}

void DisplayManager::BuildUserInterface()
{
	lv_display_t *disp = lv_display_get_default();
#if CONFIG_DISPLAY_MANAGER_LOG_LEVEL >= LOG_LEVEL_DBG
	lv_draw_buf_t *drawBuf = lv_display_get_buf_active(disp);
	LOG_DBG("LVGL draw buf:\r\nsavebin framebuf.bin %p %zu\r\nexit", drawBuf->data, drawBuf->data_size);
#endif
	lv_display_set_theme(disp, lv_theme_mono_init(disp, true, &lv_font_splinesans_medium_20));

	lv_obj_t *screen = lv_screen_active();
	BuildStatusBar(screen);
	BuildMeasurementsContainer(screen);

	// Layout pass: computes card positions and value label coordinates
	// so the floating icons can be placed relative to them.
	lv_obj_update_layout(screen);
	PlaceFloatingIcons(screen);
}

void DisplayManager::BuildStatusBar(lv_obj_t *screen)
{
	lv_obj_t *header = lv_obj_create(screen);
	lv_obj_remove_style_all(header);
	lv_obj_set_size(header, kScreenWidth, kHeaderHeight);
	lv_obj_set_pos(header, 0, 0);
	lv_obj_set_style_pad_right(header, kHeaderInnerPadRight, 0);
	lv_obj_set_style_pad_top(header, kHeaderInnerPadTop, 0);

	mSignalWidget = lv_obj_create(header);
	lv_obj_remove_style_all(mSignalWidget);
	lv_obj_set_size(mSignalWidget, kSignalWidgetWidth, kSignalWidgetHeight);
	lv_obj_align(mSignalWidget, LV_ALIGN_TOP_RIGHT, 0, 0);
	lv_obj_add_event_cb(mSignalWidget, SignalDrawCallback, LV_EVENT_DRAW_MAIN, this);

	mDecontaminationLabel = lv_label_create(header);
	lv_obj_set_style_text_font(mDecontaminationLabel, &lv_font_splinesans_medium_18, 0);
	lv_obj_align(mDecontaminationLabel, LV_ALIGN_TOP_LEFT, kHeaderTextLeftOffset, 0);
	lv_label_set_text(mDecontaminationLabel, "");
	lv_obj_add_flag(mDecontaminationLabel, LV_OBJ_FLAG_HIDDEN);

	mStatusBarContainer = lv_obj_create(header);
	lv_obj_remove_style_all(mStatusBarContainer);
	lv_obj_set_size(mStatusBarContainer, LV_SIZE_CONTENT, LV_SIZE_CONTENT);
	lv_obj_align(mStatusBarContainer, LV_ALIGN_TOP_LEFT, kHeaderTextLeftOffset, 0);
	lv_obj_set_layout(mStatusBarContainer, LV_LAYOUT_FLEX);
	lv_obj_set_flex_flow(mStatusBarContainer, LV_FLEX_FLOW_ROW);
	lv_obj_set_flex_align(mStatusBarContainer, LV_FLEX_ALIGN_START,
	                      LV_FLEX_ALIGN_CENTER, LV_FLEX_ALIGN_CENTER);
	lv_obj_set_style_pad_column(mStatusBarContainer, kStatusBarColumnGap, 0);

	mPrimarySensorLabel = lv_label_create(mStatusBarContainer);
	lv_obj_set_style_text_font(mPrimarySensorLabel, &lv_font_splinesans_medium_18, 0);
	lv_label_set_text(mPrimarySensorLabel, "");
	lv_obj_add_flag(mPrimarySensorLabel, LV_OBJ_FLAG_HIDDEN);

	mOffsetFromSecondaryLabel = lv_label_create(mStatusBarContainer);
	lv_obj_set_style_text_font(mOffsetFromSecondaryLabel, &lv_font_splinesans_medium_18, 0);
	lv_label_set_text(mOffsetFromSecondaryLabel, "");
	lv_obj_add_flag(mOffsetFromSecondaryLabel, LV_OBJ_FLAG_HIDDEN);

	mCalibrationOffsetContainer = lv_obj_create(mStatusBarContainer);
	lv_obj_remove_style_all(mCalibrationOffsetContainer);
	lv_obj_set_size(mCalibrationOffsetContainer, LV_SIZE_CONTENT, LV_SIZE_CONTENT);
	lv_obj_set_style_margin_left(mCalibrationOffsetContainer, -4, 0);
	lv_obj_set_layout(mCalibrationOffsetContainer, LV_LAYOUT_FLEX);
	lv_obj_set_flex_flow(mCalibrationOffsetContainer, LV_FLEX_FLOW_ROW);
	lv_obj_set_flex_align(mCalibrationOffsetContainer, LV_FLEX_ALIGN_START,
	                      LV_FLEX_ALIGN_CENTER, LV_FLEX_ALIGN_CENTER);
	lv_obj_set_style_pad_column(mCalibrationOffsetContainer, 0, 0);
	lv_obj_add_flag(mCalibrationOffsetContainer, LV_OBJ_FLAG_HIDDEN);

	mCalibrationOffsetGlyph = lv_label_create(mCalibrationOffsetContainer);
	lv_obj_set_style_text_font(mCalibrationOffsetGlyph, &lv_font_phosphor_bold_18, 0);
	char arrowsBuf[4] = {
	    static_cast<char>(0xE0 | (kPhosphorArrowsUpDown >> 12)),
	    static_cast<char>(0x80 | ((kPhosphorArrowsUpDown >> 6) & 0x3F)),
	    static_cast<char>(0x80 | (kPhosphorArrowsUpDown & 0x3F)),
	    '\0'
	};
	lv_label_set_text(mCalibrationOffsetGlyph, arrowsBuf);

	mCalibrationOffsetValue = lv_label_create(mCalibrationOffsetContainer);
	lv_obj_set_style_text_font(mCalibrationOffsetValue, &lv_font_splinesans_medium_18, 0);
	lv_obj_set_style_margin_left(mCalibrationOffsetValue, -6, 0);
	lv_label_set_text(mCalibrationOffsetValue, "");
}

void DisplayManager::BuildMeasurementsContainer(lv_obj_t *screen)
{
	lv_obj_t *container = lv_obj_create(screen);
	lv_obj_remove_style_all(container);
	lv_obj_set_size(container, kScreenWidth, kSensorContainerHeight);
	lv_obj_set_pos(container, 0, kHeaderHeight);
	lv_obj_set_layout(container, LV_LAYOUT_FLEX);
	lv_obj_set_flex_flow(container, LV_FLEX_FLOW_COLUMN);
	lv_obj_set_flex_align(container, LV_FLEX_ALIGN_SPACE_EVENLY,
	                      LV_FLEX_ALIGN_CENTER, LV_FLEX_ALIGN_CENTER);
	lv_obj_set_style_pad_left(container, kSensorContainerLeftPad, 0);

	mValueTemperature = CreateSensorCard(container, "TEMPERATURE",
	                                     "\xC2\xB0" "C");

	lv_obj_t *divider = lv_obj_create(container);
	lv_obj_remove_style_all(divider);
	lv_obj_set_size(divider, kDividerWidth, kDividerHeight);
	lv_obj_set_style_bg_color(divider, lv_color_white(), 0);
	lv_obj_set_style_bg_opa(divider, LV_OPA_COVER, 0);

	mValueHumidity = CreateSensorCard(container, "HUMIDITY", "%");
}

void DisplayManager::PlaceFloatingIcons(lv_obj_t *screen)
{
	// Icons float on screen (outside the sensor container) so they're
	// unaffected by its pad_left.
	CreateIcon(screen, kPhosphorThermometer, mValueTemperature);
	CreateIcon(screen, kPhosphorDrop,        mValueHumidity);
}

void DisplayManager::UpdateMeasurements(std::optional<int16_t>  temperatureHundredths,
                                        std::optional<uint16_t> humidityHundredths)
{
	mCurrentTemperature = temperatureHundredths;
	mCurrentHumidity    = humidityHundredths;
}

void DisplayManager::UpdateSignalStrength(bool connected, uint8_t lqi)
{
	mCurrentConnected = connected;
	mCurrentLqi       = lqi;
}

void DisplayManager::SetDecontaminationStatus(bool active, uint32_t elapsedSeconds)
{
	mCurrentDecontaminationActive         = active;
	mCurrentDecontaminationElapsedSeconds = elapsedSeconds;
}

void DisplayManager::SetPrimarySensorName(const char *name)
{
	mCurrentPrimarySensorName = name;
}

void DisplayManager::SetSecondarySensorPresent(bool present)
{
	mSecondarySensorPresent = present;
}

void DisplayManager::SetSecondaryHumidity(std::optional<uint16_t> humidityHundredths)
{
	mCurrentSecondaryHumidity = humidityHundredths;
}

void DisplayManager::SetHumidityCalibrationOffset(std::optional<int16_t> offsetHundredths)
{
	mCurrentHumidityCalibrationOffset = offsetHundredths;
}

void DisplayManager::RefreshDisplay()
{
	if (mState != State::Ready) {
		return;
	}

	const bool sensorInfoTemporarilyVisible =
		mSecondarySensorPresent || mTemporarySensorInfoRefreshesRemaining > 0;
	const bool primaryNameVisible =
		(mCurrentPrimarySensorName != nullptr) && sensorInfoTemporarilyVisible;
	const bool calibrationOffsetVisible =
		mCurrentHumidityCalibrationOffset.has_value() && sensorInfoTemporarilyVisible;

	const bool noChange =
		mCurrentTemperature                   == mLastTemperature                   &&
		mCurrentHumidity                      == mLastHumidity                      &&
		mCurrentConnected                     == mLastConnected                     &&
		mCurrentLqi                           == mLastLqi                           &&
		mCurrentDecontaminationActive         == mLastDecontaminationActive         &&
		mCurrentDecontaminationElapsedSeconds == mLastDecontaminationElapsedSeconds &&
		mCurrentPrimarySensorName             == mLastPrimarySensorName             &&
		mCurrentSecondaryHumidity             == mLastSecondaryHumidity             &&
		mCurrentHumidityCalibrationOffset     == mLastHumidityCalibrationOffset     &&
		primaryNameVisible                    == mLastPrimaryNameVisible            &&
		calibrationOffsetVisible              == mLastCalibrationOffsetVisible;

	if (!noChange) {
		mPartialUpdateCount++;
		bool fullUpdate = (mPartialUpdateCount >= kFullUpdateInterval);
		if (fullUpdate) {
			mPartialUpdateCount = 0;
			display_blanking_on(mDev);
		}

		DrawMeasurements();
		DrawSignalBars();
		DrawSensorInfo();
		DrawDecontamination();
		lv_timer_handler();

		if (fullUpdate) {
			display_blanking_off(mDev);
		}

		mLastTemperature                   = mCurrentTemperature;
		mLastHumidity                      = mCurrentHumidity;
		mLastConnected                     = mCurrentConnected;
		mLastLqi                           = mCurrentLqi;
		mLastDecontaminationActive         = mCurrentDecontaminationActive;
		mLastDecontaminationElapsedSeconds = mCurrentDecontaminationElapsedSeconds;
		mLastPrimarySensorName             = mCurrentPrimarySensorName;
		mLastSecondaryHumidity             = mCurrentSecondaryHumidity;
		mLastHumidityCalibrationOffset     = mCurrentHumidityCalibrationOffset;
		mLastPrimaryNameVisible            = primaryNameVisible;
		mLastCalibrationOffsetVisible      = calibrationOffsetVisible;
	}

	// Each refresh in single-sensor mode (decon inactive) consumes one of
	// the budgeted display updates; pausing during decon prevents the
	// overlay from silently eating the visibility window.
	if (!mSecondarySensorPresent && !mCurrentDecontaminationActive &&
	    mTemporarySensorInfoRefreshesRemaining > 0) {
		mTemporarySensorInfoRefreshesRemaining--;
	}
}

void DisplayManager::DrawMeasurements()
{
	if (mCurrentTemperature.has_value()) {
		int16_t value             = *mCurrentTemperature;
		bool    neg               = (value < 0);
		int16_t absValue          = neg ? -value : value;
		int16_t temperatureTenths = (absValue + 5) / 10;

		lv_label_set_text_fmt(mValueTemperature, "%s%d.%01d",
		                      neg ? "-" : "",
		                      temperatureTenths / 10, temperatureTenths % 10);
	} else {
		lv_label_set_text(mValueTemperature, "--.-");
	}

	if (mCurrentHumidity.has_value()) {
		uint16_t humidityTenths = (*mCurrentHumidity + 10) / 20 * 2; // 0.2% steps
		lv_label_set_text_fmt(mValueHumidity, "%d.%01d",
		                      humidityTenths / 10, humidityTenths % 10);
	} else {
		lv_label_set_text(mValueHumidity, "--.-");
	}
}

void DisplayManager::DrawSignalBars()
{
	lv_obj_invalidate(mSignalWidget);
}

void DisplayManager::DrawSensorInfo()
{
	const bool sensorInfoTemporarilyVisible =
		mSecondarySensorPresent || mTemporarySensorInfoRefreshesRemaining > 0;

	const bool primaryNameVisible =
		(mCurrentPrimarySensorName != nullptr) && sensorInfoTemporarilyVisible;
	if (primaryNameVisible) {
		lv_label_set_text(mPrimarySensorLabel, mCurrentPrimarySensorName);
		lv_obj_remove_flag(mPrimarySensorLabel, LV_OBJ_FLAG_HIDDEN);
	} else {
		lv_obj_add_flag(mPrimarySensorLabel, LV_OBJ_FLAG_HIDDEN);
	}

	if (mCurrentHumidity.has_value() && mCurrentSecondaryHumidity.has_value()) {
		int32_t diff = static_cast<int32_t>(*mCurrentHumidity) -
		               static_cast<int32_t>(*mCurrentSecondaryHumidity);
		int32_t deltaTenths = (diff >= 0) ? (diff + 5) / 10 : (diff - 5) / 10;
		int32_t absTenths = (deltaTenths < 0) ? -deltaTenths : deltaTenths;
		lv_label_set_text_fmt(mOffsetFromSecondaryLabel, "%s%d.%01d",
		                      (deltaTenths < 0) ? "-" : "+",
		                      static_cast<int>(absTenths / 10),
		                      static_cast<int>(absTenths % 10));
		lv_obj_remove_flag(mOffsetFromSecondaryLabel, LV_OBJ_FLAG_HIDDEN);
	} else {
		lv_obj_add_flag(mOffsetFromSecondaryLabel, LV_OBJ_FLAG_HIDDEN);
	}

	const bool calibrationOffsetVisible =
		mCurrentHumidityCalibrationOffset.has_value() && sensorInfoTemporarilyVisible;
	if (calibrationOffsetVisible) {
		int32_t value     = *mCurrentHumidityCalibrationOffset;
		int32_t tenths    = (value >= 0) ? (value + 5) / 10 : (value - 5) / 10;
		int32_t absTenths = (tenths < 0) ? -tenths : tenths;
		lv_label_set_text_fmt(mCalibrationOffsetValue, "%s%d.%01d",
		                      (tenths < 0) ? "-" : "+",
		                      static_cast<int>(absTenths / 10),
		                      static_cast<int>(absTenths % 10));
		lv_obj_remove_flag(mCalibrationOffsetContainer, LV_OBJ_FLAG_HIDDEN);
	} else {
		lv_obj_add_flag(mCalibrationOffsetContainer, LV_OBJ_FLAG_HIDDEN);
	}
}

void DisplayManager::DrawDecontamination()
{
	if (mCurrentDecontaminationActive) {
		lv_obj_add_flag(mStatusBarContainer, LV_OBJ_FLAG_HIDDEN);
		lv_obj_remove_flag(mDecontaminationLabel, LV_OBJ_FLAG_HIDDEN);
		uint32_t mins = mCurrentDecontaminationElapsedSeconds / 60;
		uint32_t secs = mCurrentDecontaminationElapsedSeconds % 60;
		lv_label_set_text_fmt(mDecontaminationLabel, "DECON %u:%02u", mins, secs);
	} else {
		lv_obj_add_flag(mDecontaminationLabel, LV_OBJ_FLAG_HIDDEN);
		lv_obj_remove_flag(mStatusBarContainer, LV_OBJ_FLAG_HIDDEN);
	}
}

#endif /* CONFIG_DISPLAY */
```

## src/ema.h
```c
/*
 * SPDX-License-Identifier: LicenseRef-Apache-2.0
 */

#pragma once
#include <climits>
#include <cstdint>

/// @brief Exponential Moving Average (EMA) filter for smoothing sensor measurements.
/// The alpha parameter controls the degree of smoothing (0 < alpha <= 1), with higher values giving more weight to recent samples.
/// The implementation uses integer arithmetic with a fixed-point representation of alpha (alpha32 = alpha * 32) to avoid floating-point calculations.
class Ema {
public:
	explicit Ema(int32_t alpha32) : mAlpha32(alpha32) {}

	// Returns the updated smoothed value.
	// On the first call the state is initialised to newSample (no blending from zero).
	int32_t update(int32_t newSample)
	{
		if (mSmoothed == INT32_MIN) {
			mSmoothed = newSample;
		} else {
			int32_t num = mAlpha32 * newSample + (32 - mAlpha32) * mSmoothed;
			mSmoothed = (num < 0) ? (num - 16) / 32 : (num + 16) / 32;
		}
		return mSmoothed;
	}

private:
	const int32_t mAlpha32;
	int32_t mSmoothed = INT32_MIN;
};
```

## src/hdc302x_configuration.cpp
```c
/*
 * SPDX-License-Identifier: Apache-2.0
 */

#include "hdc302x_configuration.h"

#include <zephyr/device.h>
#include <zephyr/drivers/i2c.h>
#include <zephyr/drivers/sensor.h>
#include <zephyr/drivers/sensor/ti_hdc302x.h>
#include <zephyr/logging/log.h>

#include <cstdio>

LOG_MODULE_DECLARE(sensor, CONFIG_SENSOR_LOG_LEVEL);

namespace
{
#ifdef CONFIG_DT_HAS_TI_HDC302X_ENABLED
const i2c_dt_spec sHdc302xI2c =
	I2C_DT_SPEC_GET(DT_COMPAT_GET_ANY_STATUS_OKAY(ti_hdc302x));
#endif

bool SetHdc302xMeasurementInterval(const device *hdc302xDevice, int32_t interval)
{
	const struct sensor_value value = {.val1 = interval, .val2 = 0};
	const int result = sensor_attr_set(hdc302xDevice, SENSOR_CHAN_ALL,
	                                   static_cast<enum sensor_attribute>(SENSOR_ATTR_INTEGRATION_TIME),
	                                   &value);
	if (result != 0) {
		LOG_ERR("Failed to set HDC302x integration time: %d", result);
		return false;
	}
	return true;
}
} /* namespace */

bool ConfigureHdc302xAutomaticMeasurementMode(const device *hdc302xDevice)
{
	return SetHdc302xMeasurementInterval(hdc302xDevice, HDC302X_SENSOR_MEAS_INTERVAL_0_5);
}

bool ConfigureHdc302xManualMeasurementMode(const device *hdc302xDevice)
{
	return SetHdc302xMeasurementInterval(hdc302xDevice, HDC302X_SENSOR_MEAS_INTERVAL_MANUAL);
}

std::optional<std::string> ReadHdc302xNistId()
{
#ifdef CONFIG_DT_HAS_TI_HDC302X_ENABLED
	static constexpr uint8_t kCommands[3][2] = {
		{ 0x36, 0x83 }, /* NIST ID bytes 5 and 4 */
		{ 0x36, 0x84 }, /* NIST ID bytes 3 and 2 */
		{ 0x36, 0x85 }, /* NIST ID bytes 1 and 0 */
	};
	uint8_t nist[6] = {};
	for (size_t i = 0; i < 3; ++i) {
		uint8_t rx[3] = {};
		int rc = i2c_write_read_dt(&sHdc302xI2c,
		                           kCommands[i], sizeof(kCommands[i]),
		                           rx, sizeof(rx));
		if (rc != 0) {
			LOG_WRN("Failed to read HDC302x NIST ID: %d", rc);
			return std::nullopt;
		}
		nist[i * 2]     = rx[0];
		nist[i * 2 + 1] = rx[1];
	}
	char buf[15] = {};
	std::snprintf(buf, sizeof(buf), "0x%02X%02X%02X%02X%02X%02X",
	              nist[0], nist[1], nist[2], nist[3], nist[4], nist[5]);
	return std::string{ buf };
#else
	return std::nullopt;
#endif
}
```
